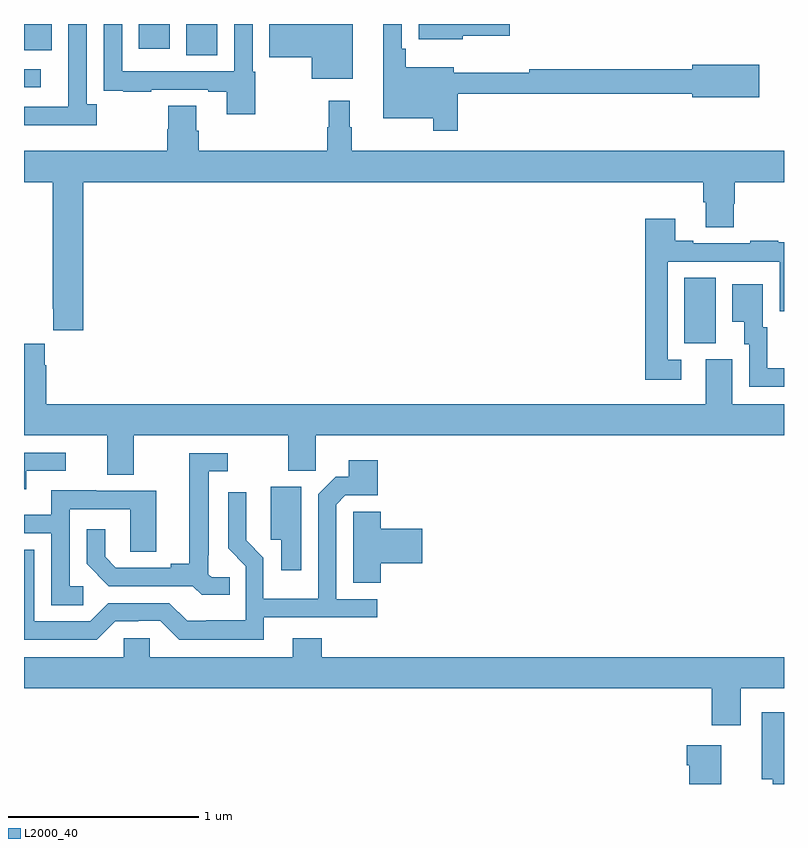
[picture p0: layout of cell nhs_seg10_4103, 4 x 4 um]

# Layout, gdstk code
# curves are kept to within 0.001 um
import gdstk
lib = gdstk.Library(unit=1e-6, precision=1e-09)
def R(c, l, rs):  # rectangles x0, y0, x1, y1
    for r in rs: c.add(gdstk.rectangle(r[:2], r[2:], *l))
def P(c, l, *ps):  # polygons
    for p in ps: c.add(gdstk.Polygon(p, *l))
L2000_40 = (2000, 40)

nhs_seg10_4103 = lib.new_cell('nhs_seg10_4103')
R(nhs_seg10_4103, L2000_40, [(342.476,1280.821,342.64,1281.164), (339,1282.167,339.088,1282.263), (339.854,1282.336,340.018,1282.5), (339,1282.361,339.145,1282.5), (339.605,1282.371,339.766,1282.5)])
P(nhs_seg10_4103, L2000_40, [(341.31,1282.439),(341.557,1282.439),(341.557,1282.5),(341.078,1282.5),(341.078,1282.421),(341.31,1282.421)],
  [(339.382,1282.078),(339.33,1282.078),(339.33,1282.5),(339.234,1282.5),(339.234,1282.265),(339.233,1282.265),(339.233,1282.065),(339,1282.065),(339,1281.968),(339.382,1281.968)],
  [(340.216,1282.248),(340.203,1282.248),(340.203,1282.5),(340.107,1282.5),(340.107,1282.251),(339.516,1282.251),(339.516,1282.5),(339.42,1282.5),(339.42,1282.258),(339.421,1282.258),(339.421,1282.149),(339.523,1282.149),(339.523,1282.143),(339.671,1282.143),(339.671,1282.155),(339.971,1282.155),(339.971,1282.143),(340.067,1282.143),(340.067,1282.026),(340.216,1282.026)],
  [(340.729,1282.5),(340.29,1282.5),(340.29,1282.325),(340.514,1282.325),(340.514,1282.211),(340.729,1282.211)],
  [(341.282,1282.134),(342.518,1282.134),(342.518,1282.115),(342.871,1282.115),(342.871,1282.286),(342.518,1282.286),(342.518,1282.262),(341.659,1282.262),(341.659,1282.244),(341.263,1282.244),(341.263,1282.273),(341.009,1282.273),(341.009,1282.369),(340.989,1282.369),(340.989,1282.5),(340.892,1282.5),(340.892,1282.004),(341.154,1282.004),(341.154,1281.939),(341.282,1281.939)],
  [(340.726,1281.956),(340.714,1281.956),(340.714,1282.096),(340.605,1282.096),(340.605,1281.956),(340.597,1281.956),(340.597,1281.832),(339.92,1281.832),(339.92,1281.938),(339.907,1281.938),(339.907,1282.07),(339.76,1282.07),(339.76,1281.945),(339.755,1281.945),(339.755,1281.832),(339,1281.832),(339,1281.668),(339.151,1281.668),(339.151,1281.001),(339.155,1281.001),(339.155,1280.889),(339.311,1280.889),(339.311,1281.668),(342.575,1281.668),(342.575,1281.562),(342.587,1281.562),(342.587,1281.43),(342.735,1281.43),(342.735,1281.555),(342.74,1281.555),(342.74,1281.668),(343,1281.668),(343,1281.832),(340.726,1281.832)],
  [(342.46,1280.733),(342.387,1280.733),(342.387,1281.249),(342.978,1281.249),(342.978,1280.988),(343,1280.988),(343,1281.351),(342.971,1281.351),(342.971,1281.358),(342.823,1281.358),(342.823,1281.345),(342.523,1281.345),(342.523,1281.358),(342.427,1281.358),(342.427,1281.475),(342.271,1281.475),(342.271,1280.628),(342.46,1280.628)],
  [(343,1280.688),(342.913,1280.688),(342.913,1280.904),(342.889,1280.904),(342.889,1281.13),(342.728,1281.13),(342.728,1280.933),(342.791,1280.933),(342.791,1280.814),(342.816,1280.814),(342.816,1280.592),(343,1280.592)],
  [(339.577,1280.336),(340.39,1280.336),(340.39,1280.149),(340.536,1280.149),(340.536,1280.336),(343,1280.336),(343,1280.5),(342.727,1280.5),(342.727,1280.736),(342.587,1280.736),(342.587,1280.5),(339.116,1280.5),(339.116,1280.705),(339.109,1280.705),(339.109,1280.818),(339,1280.818),(339,1280.336),(339.437,1280.336),(339.437,1280.128),(339.577,1280.128)],
  [(339.013,1280.148),(339.22,1280.148),(339.22,1280.244),(339,1280.244),(339,1280.051),(339.013,1280.051)],
  [(340.082,1279.587),(339.987,1279.587),(339.969,1279.605),(339.969,1279.705),(339.973,1279.705),(339.973,1280.145),(340.072,1280.145),(340.072,1280.241),(339.869,1280.241),(339.869,1279.658),(339.773,1279.658),(339.773,1279.638),(339.484,1279.638),(339.427,1279.695),(339.427,1279.84),(339.33,1279.84),(339.33,1279.658),(339.446,1279.542),(339.888,1279.542),(339.936,1279.495),(340.082,1279.495)],
  [(340.261,1279.377),(340.858,1279.377),(340.858,1279.473),(340.644,1279.473),(340.644,1279.971),(340.692,1280.019),(340.862,1280.019),(340.862,1280.203),(340.709,1280.203),(340.709,1280.118),(340.641,1280.118),(340.548,1280.025),(340.548,1279.474),(340.26,1279.474),(340.26,1279.69),(340.169,1279.782),(340.17,1280.035),(340.074,1280.035),(340.074,1279.74),(340.167,1279.647),(340.167,1279.363),(339.958,1279.363),(339.958,1279.359),(339.858,1279.359),(339.765,1279.452),(339.444,1279.452),(339.348,1279.356),(339.054,1279.356),(339.054,1279.732),(339,1279.732),(339,1279.26),(339.384,1279.26),(339.48,1279.356),(339.6,1279.356),(339.6,1279.359),(339.717,1279.359),(339.817,1279.259),(340.261,1279.259)],
  [(340.459,1280.064),(340.298,1280.064),(340.298,1279.785),(340.355,1279.785),(340.355,1279.626),(340.459,1279.626)],
  [(339.313,1279.542),(339.24,1279.542),(339.24,1279.947),(339.558,1279.947),(339.558,1279.723),(339.697,1279.723),(339.697,1280.043),(339.379,1280.043),(339.379,1280.047),(339.143,1280.047),(339.143,1279.918),(339,1279.918),(339,1279.821),(339.144,1279.821),(339.144,1279.441),(339.313,1279.441)],
  [(340.877,1279.661),(341.095,1279.661),(341.095,1279.844),(340.877,1279.844),(340.877,1279.934),(340.734,1279.934),(340.734,1279.826),(340.733,1279.826),(340.733,1279.558),(340.877,1279.558)],
  [(342.772,1279.004),(343,1279.004),(343,1279.168),(340.568,1279.168),(340.568,1279.267),(340.415,1279.267),(340.415,1279.168),(339.663,1279.168),(339.663,1279.266),(339.525,1279.266),(339.525,1279.168),(339,1279.168),(339,1279.004),(342.62,1279.004),(342.62,1278.81),(342.772,1278.81)],
  [(343,1278.877),(342.884,1278.877),(342.884,1278.524),(342.941,1278.524),(342.941,1278.5),(343,1278.5)],
  [(342.67,1278.703),(342.488,1278.703),(342.488,1278.599),(342.5,1278.599),(342.5,1278.5),(342.67,1278.5)])

lib.write_gds('nhs_seg10_4103.gds')
